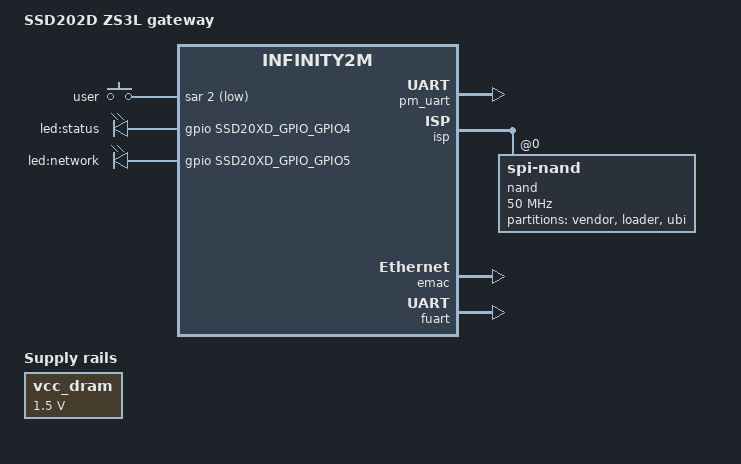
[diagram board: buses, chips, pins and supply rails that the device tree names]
// SPDX-License-Identifier: GPL-2.0-or-later
/*
 * SSD202D gateway: 128 MiB SPI NAND, Ethernet, a polled user key, two LEDs and a Silicon Labs EFR32MG21 radio
 * module (Tuya ZS3L) on the fuart. Compiled inside the kernel build against the SoC device trees of
 * patches/ (the fork's mstar-infinity2m-ssd202d.dtsi chain).
 */

/dts-v1/;
#include "mstar-infinity2m-ssd202d.dtsi"
#include <dt-bindings/input/input.h>

/ {
	model = "SSD202D ZS3L gateway";
	compatible = "ybo,ssd202d-zs3l-gw", "mstar,infinity2m";

	aliases {
		serial0 = &pm_uart;
		ethernet0 = &emac;
	};

	chosen {
		stdout-path = "serial0:115200n8";
	};

	vcc_dram: regulator-vcc-dram {
		compatible = "regulator-fixed";
		regulator-name = "vcc_dram";
		regulator-min-microvolt = <1500000>;
		regulator-max-microvolt = <1500000>;
		regulator-boot-on;
	};

	keys {
		compatible = "gpio-keys-polled";
		poll-interval = <20>;

		/* SAR_GPIO2, active low; its interrupt cannot be claimed, so the key is polled. */
		key-user {
			label = "user";
			linux,code = <KEY_RESTART>;
			gpios = <&sar 2 GPIO_ACTIVE_LOW>;
		};
	};

	leds {
		compatible = "gpio-leds";

		led-status {
			label = "led:status";
			gpios = <&gpio SSD20XD_GPIO_GPIO4 GPIO_ACTIVE_HIGH>;
			default-state = "on";
		};

		led-network {
			label = "led:network";
			gpios = <&gpio SSD20XD_GPIO_GPIO5 GPIO_ACTIVE_HIGH>;
			default-state = "on";
		};
	};
};

&pm_uart {
	status = "okay";
};

/* No BDMA driver is built: the SPI flash controller reads through the CPU. */
&bdma {
	status = "disabled";
};

&isp {
	status = "okay";

	nand: nand@0 {
		compatible = "spi-nand";
		reg = <0>;
		spi-max-frequency = <50000000>;
		spi-rx-bus-width = <4>;

		/* Mica OS's flash layout, boards/ssd202d/flash.tsv. */
		partitions {
			compatible = "fixed-partitions";
			#address-cells = <1>;
			#size-cells = <1>;

			/* The vendor's CIS and IPL, never written. */
			partition@0 {
				label = "vendor";
				reg = <0x0 0x200000>;
				read-only;
			};

			/* The SPL in both IPL_CUST slots, U-Boot proper A and B. */
			partition@200000 {
				label = "loader";
				reg = <0x200000 0x280000>;
			};

			partition@480000 {
				label = "ubi";
				reg = <0x480000 0x7b80000>;
			};
		};
	};
};

&emac {
	pinctrl-names = "default";
	pinctrl-0 = <&pm_led_mode1_pins>;
	status = "okay";
};

&miu {
	ddr-supply = <&vcc_dram>;
};

/* The radio module: 460800 baud with RTS/CTS. The UART DMA (urdma) loses transmit data, so it is not used. */
&fuart {
	pinctrl-names = "default";
	pinctrl-0 = <&fuart_mode1_pins>;
	uart-has-rtscts;
	/delete-property/ dmas;
	/delete-property/ dma-names;
	status = "okay";
};

/*
 * The module's control lines are driven from userspace: vendor GPIO47 (UART0_RX pad) is its reset, vendor
 * GPIO48 (UART0_TX pad) selects the bootloader when low as the reset is released.
 */
